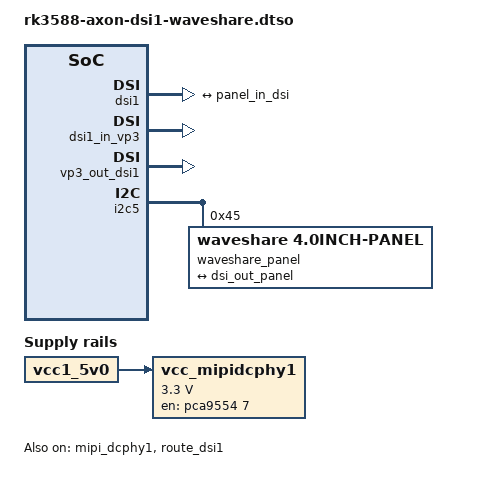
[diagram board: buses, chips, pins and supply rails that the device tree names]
//SPDX-License-Identifier: GPL-2..0+
// Copyright (C) 2024 Vicharak Computers PVT LTD

/dts-v1/;
/plugin/;

#include <dt-bindings/gpio/gpio.h>
#include <dt-bindings/pinctrl/rockchip.h>
#include <dt-bindings/display/drm_mipi_dsi.h>

&{/} {
	metadata {
		title = "Enable Waveshare 4inch DSI LCD";
		compatible = "vicharak,rk3588-axon", "rockchip,rk3588";
		category = "display";
		description = "Enables support for the Waveshare 4-inch LCD screen for DSI1 on Axon.\n";
	};

	vcc_mipidcphy1: vcc-mipi-dcphy1 {
		compatible = "regulator-fixed";
		regulator-name = "vcc_mipidcphy1";
		regulator-min-microvolt = <3300000>;
		regulator-max-microvolt = <3300000>;
		gpio = <&pca9554 7 GPIO_ACTIVE_HIGH>;
		regulator-always-on;
		regulator-boot-on;
		enable-active-high;
		vin-supply = <&vcc1_5v0>;
	};
};

&mipi_dcphy1 {
	status = "okay";
};

&dsi1 {
	status = "okay";

	ports {
		#address-cells = <1>;
		#size-cells = <0>;

		port@1 {
			reg = <1>;

			dsi_out_panel: endpoint {
				remote-endpoint = <&panel_in_dsi>;
			};
		};
	};
};

&dsi1_in_vp2 {
	status = "disabled";
};

&dsi1_in_vp3 {
	status = "okay";
};

&vp3_out_dsi1 {
	status = "okay";
};

&route_dsi1 {
	status = "okay";
	connect = <&vp3_out_dsi1>;
};

&i2c5 {
	status = "okay";
	#address-cells = <1>;
	#size-cells = <0>;

	waveshare_panel: panel@45 {
		compatible = "waveshare,4.0inch-panel";
		reg = <0x45>;
		status = "okay";

		ports {
			#address-cells = <1>;
			#size-cells = <0>;

			port@0 {
				reg = <0>;

				panel_in_dsi: endpoint {
					remote-endpoint = <&dsi_out_panel>;
				};
			};
		};
	};
};
